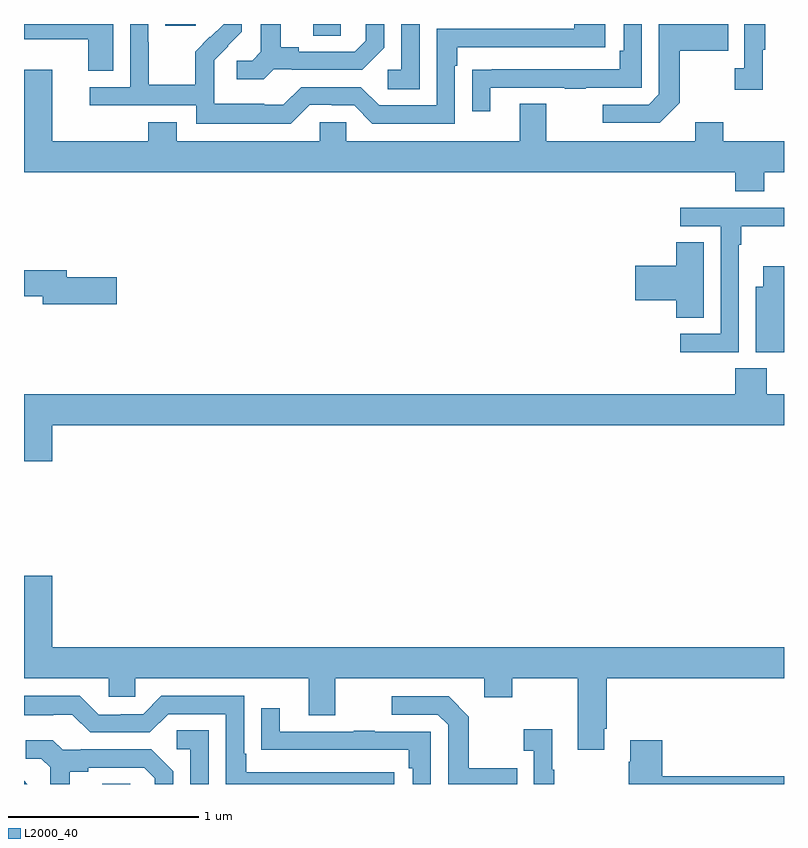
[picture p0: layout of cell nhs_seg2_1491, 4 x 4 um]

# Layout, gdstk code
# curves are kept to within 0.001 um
import gdstk
lib = gdstk.Library(unit=1e-6, precision=1e-09)
def R(c, l, rs):  # rectangles x0, y0, x1, y1
    for r in rs: c.add(gdstk.rectangle(r[:2], r[2:], *l))
def P(c, l, *ps):  # polygons
    for p in ps: c.add(gdstk.Polygon(p, *l))
L2000_40 = (2000, 40)

nhs_seg2_1491 = lib.new_cell('nhs_seg2_1491')
R(nhs_seg2_1491, L2000_40, [(189.413,593.8,189.558,593.801), (190.523,597.739,190.668,597.8), (189.743,597.792,189.904,597.8)])
P(nhs_seg2_1491, L2000_40, [(192.889,597.665),(192.901,597.665),(192.901,597.8),(192.792,597.8),(192.792,597.566),(192.741,597.566),(192.741,597.453),(192.889,597.453)],
  [(191.082,597.8),(190.986,597.8),(190.986,597.558),(190.914,597.558),(190.914,597.457),(191.082,597.457)],
  [(190.503,597.375),(190.619,597.375),(190.619,597.372),(190.737,597.372),(190.833,597.276),(191.268,597.276),(191.268,597.581),(191.281,597.581),(191.281,597.678),(192.058,597.678),(192.058,597.8),(191.897,597.8),(191.897,597.774),(191.172,597.774),(191.172,597.372),(190.869,597.372),(190.773,597.468),(190.458,597.468),(190.365,597.375),(190.265,597.375),(190.265,597.379),(190.002,597.379),(190.002,597.513),(190,597.513),(190,597.61),(190.146,597.758),(190.146,597.8),(190.052,597.8),(189.981,597.729),(189.978,597.732),(189.901,597.655),(189.901,597.481),(189.657,597.481),(189.657,597.704),(189.654,597.704),(189.654,597.8),(189.558,597.8),(189.558,597.468),(189.345,597.468),(189.345,597.372),(189.906,597.372),(189.906,597.275),(190.403,597.275)],
  [(191.455,597.465),(191.845,597.465),(191.845,597.46),(191.957,597.46),(191.957,597.465),(192.252,597.465),(192.252,597.8),(192.156,597.8),(192.156,597.658),(192.136,597.658),(192.136,597.561),(191.461,597.561),(191.461,597.56),(191.359,597.56),(191.359,597.342),(191.455,597.342)],
  [(189.469,597.8),(189,597.8),(189,597.719),(189.338,597.719),(189.338,597.553),(189.469,597.553)],
  [(190.314,597.561),(190.408,597.561),(190.408,597.558),(190.78,597.558),(190.896,597.674),(190.896,597.8),(190.799,597.8),(190.799,597.711),(190.742,597.654),(190.447,597.654),(190.447,597.677),(190.351,597.677),(190.351,597.8),(190.247,597.8),(190.247,597.653),(190.2,597.606),(190.119,597.606),(190.119,597.509),(190.262,597.509)],
  [(192.451,597.385),(192.451,597.658),(192.707,597.658),(192.707,597.8),(192.342,597.8),(192.342,597.429),(192.288,597.375),(192.045,597.375),(192.045,597.279),(192.345,597.279)],
  [(192.895,597.02),(193,597.02),(193,597.184),(192.681,597.184),(192.681,597.283),(192.533,597.283),(192.533,597.184),(191.749,597.184),(191.749,597.379),(191.609,597.379),(191.609,597.184),(190.695,597.184),(190.695,597.282),(190.557,597.282),(190.557,597.184),(189.805,597.184),(189.805,597.283),(189.653,597.283),(189.653,597.184),(189.148,597.184),(189.148,597.559),(189,597.559),(189,597.02),(192.743,597.02),(192.743,596.921),(192.895,596.921)],
  [(192.762,596.639),(192.775,596.639),(192.775,596.735),(193,596.735),(193,596.832),(192.453,596.832),(192.453,596.736),(192.666,596.736),(192.666,596.169),(192.453,596.169),(192.453,596.073),(192.762,596.073)],
  [(192.577,596.651),(192.434,596.651),(192.434,596.528),(192.216,596.528),(192.216,596.345),(192.434,596.345),(192.434,596.254),(192.577,596.254)],
  [(193,596.524),(192.89,596.524),(192.89,596.416),(192.851,596.416),(192.851,596.073),(193,596.073)],
  [(189.487,596.468),(189.226,596.468),(189.226,596.504),(189,596.504),(189,596.368),(189.098,596.368),(189.098,596.326),(189.487,596.326)],
  [(189.148,595.688),(193,595.688),(193,595.852),(192.908,595.852),(192.908,595.987),(192.743,595.987),(192.743,595.852),(189,595.852),(189,595.5),(189.148,595.5)],
  [(192.055,594.091),(192.068,594.091),(192.068,594.356),(193,594.356),(193,594.52),(189.148,594.52),(189.148,594.895),(189,594.895),(189,594.356),(189.447,594.356),(189.447,594.258),(189.585,594.258),(189.585,594.356),(190.499,594.356),(190.499,594.162),(190.639,594.162),(190.639,594.356),(191.423,594.356),(191.423,594.257),(191.571,594.257),(191.571,594.356),(191.915,594.356),(191.915,593.979),(192.055,593.979)],
  [(190.948,593.862),(190.171,593.862),(190.171,593.959),(190.158,593.959),(190.158,594.264),(189.723,594.264),(189.627,594.168),(189.509,594.168),(189.509,594.165),(189.393,594.165),(189.293,594.265),(189,594.265),(189,594.161),(189.155,594.161),(189.155,594.165),(189.255,594.165),(189.348,594.072),(189.663,594.072),(189.759,594.168),(190.062,594.168),(190.062,593.8),(190.948,593.8)],
  [(191.597,593.883),(191.341,593.883),(191.341,594.155),(191.235,594.261),(190.935,594.261),(190.935,594.165),(191.178,594.165),(191.232,594.111),(191.232,593.8),(191.597,593.8)],
  [(191.142,594.075),(190.847,594.075),(190.847,594.08),(190.735,594.08),(190.735,594.075),(190.345,594.075),(190.345,594.199),(190.249,594.199),(190.249,593.98),(190.351,593.98),(190.351,593.979),(191.026,593.979),(191.026,593.882),(191.046,593.882),(191.046,593.8),(191.142,593.8)],
  [(191.791,593.875),(191.779,593.875),(191.779,594.088),(191.631,594.088),(191.631,593.975),(191.682,593.975),(191.682,593.8),(191.791,593.8)],
  [(189.972,594.083),(189.804,594.083),(189.804,593.982),(189.876,593.982),(189.876,593.8),(189.972,593.8)],
  [(193,593.84),(192.359,593.84),(192.359,594.031),(192.191,594.031),(192.191,593.918),(192.184,593.918),(192.184,593.8),(193,593.8)],
  [(189.241,593.864),(189.337,593.864),(189.337,593.886),(189.632,593.886),(189.689,593.829),(189.689,593.8),(189.786,593.8),(189.786,593.866),(189.67,593.982),(189.298,593.982),(189.298,593.979),(189.204,593.979),(189.152,594.031),(189.009,594.031),(189.009,593.934),(189.09,593.934),(189.137,593.887),(189.137,593.8),(189.241,593.8)],
  [(189,593.818),(189,593.8),(189.018,593.8)])

lib.write_gds('nhs_seg2_1491.gds')
